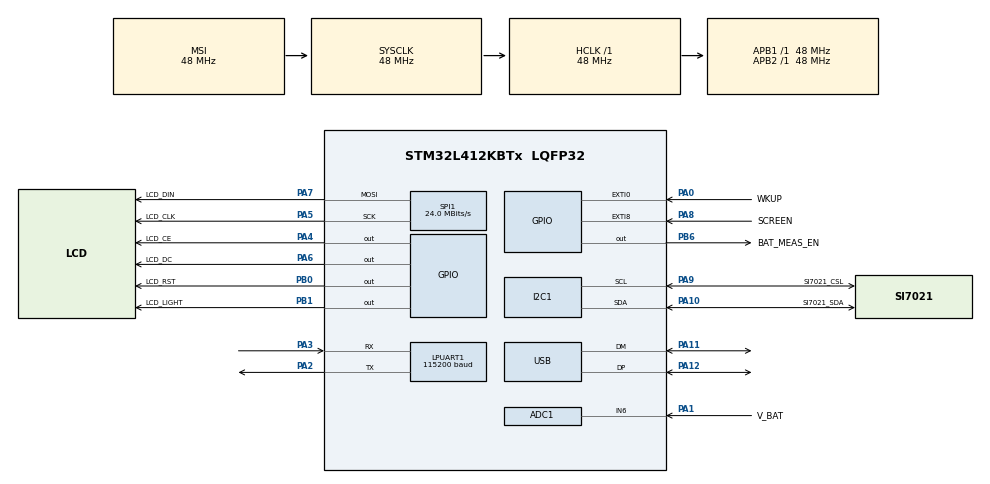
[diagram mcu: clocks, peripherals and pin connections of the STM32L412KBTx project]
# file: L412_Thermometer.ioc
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ADC1.Channel-4\#ChannelRegularConversion=ADC_CHANNEL_6
ADC1.NbrOfConversionFlag=1
ADC1.OffsetNumber-4\#ChannelRegularConversion=ADC_OFFSET_NONE
ADC1.Rank-4\#ChannelRegularConversion=1
ADC1.SamplingTime-4\#ChannelRegularConversion=ADC_SAMPLETIME_2CYCLES_5
ADC1.master=1
I2C1.Timing=0x20303E5D
LPUART1.BaudRate=115200
LPUART1.WordLength=UART_WORDLENGTH_8B
Mcu.Family=STM32L4
Mcu.Name=STM32L412KBTx
Mcu.Package=LQFP32
NVIC.EXTI0_IRQn=true\:0\:0\:false\:false\:true\:true\:true\:true
NVIC.PriorityGroup=NVIC_PRIORITYGROUP_4
NVIC.RTC_WKUP_IRQn=true\:0\:0\:false\:false\:true\:true\:true\:true
NVIC.TIM1_UP_TIM16_IRQn=true\:0\:0\:false\:false\:true\:true\:true\:true
NVIC.USB_IRQn=true\:0\:0\:false\:false\:true\:false\:true\:true
PA0-CK_IN.GPIO_Label=WKUP
PA0-CK_IN.GPIO_ModeDefaultEXTI=GPIO_MODE_IT_FALLING
PA0-CK_IN.GPIO_PuPd=GPIO_PULLUP
PA0-CK_IN.Signal=GPXTI0
PA1.GPIO_Label=V_BAT
PA1.Signal=ADCx_IN6
PA10.GPIO_Label=SI7021_SDA
PA10.GPIO_Pu=GPIO_PULLUP
PA10.Mode=I2C
PA10.Signal=I2C1_SDA
PA11.Mode=Device
PA11.Signal=USB_DM
PA12.Mode=Device
PA12.Signal=USB_DP
PA13\ (JTMS/SWDIO).Mode=Serial_Wire
PA13\ (JTMS/SWDIO).Signal=SYS_JTMS-SWDIO
PA14\ (JTCK/SWCLK).Mode=Serial_Wire
PA14\ (JTCK/SWCLK).Signal=SYS_JTCK-SWCLK
PA2.Mode=Asynchronous
PA2.Signal=LPUART1_TX
PA3.Mode=Asynchronous
PA3.Signal=LPUART1_RX
PA4.GPIO_Label=LCD_CE
PA4.Signal=GPIO_Output
PA5.GPIO_Label=LCD_CLK
PA5.Mode=TX_Only_Simplex_Unidirect_Master
PA5.Signal=SPI1_SCK
PA6.GPIO_Label=LCD_DC
PA6.Signal=GPIO_Output
PA7.GPIO_Label=LCD_DIN
PA7.Mode=TX_Only_Simplex_Unidirect_Master
PA7.Signal=SPI1_MOSI
PA8.GPIO_Label=SCREEN
PA8.GPIO_ModeDefaultEXTI=GPIO_MODE_IT_FALLING
PA8.GPIO_PuPd=GPIO_PULLUP
PA8.Signal=GPXTI8
PA9.GPIO_Label=SI7021_CSL
PA9.GPIO_Pu=GPIO_PULLUP
PA9.Mode=I2C
PA9.Signal=I2C1_SCL
PB0.GPIO_Label=LCD_RST
PB0.Signal=GPIO_Output
PB1.GPIO_Label=LCD_LIGHT
PB1.GPIO_ModeDefaultOutputPP=GPIO_MODE_OUTPUT_OD
PB1.GPIO_PuPd=GPIO_PULLUP
PB1.PinState=GPIO_PIN_SET
PB1.Signal=GPIO_Output
PB6.GPIO_Label=BAT_MEAS_EN
PB6.Signal=GPIO_Output
ProjectManager.HeapSize=0x200
ProjectManager.StackSize=0x400
ProjectManager.TargetToolchain=Makefile
RCC.ADCFreq_Value=48000000
RCC.AHBFreq_Value=48000000
RCC.APB1Freq_Value=48000000
RCC.APB1TimFreq_Value=48000000
RCC.APB2Freq_Value=48000000
RCC.APB2TimFreq_Value=48000000
RCC.CortexFreq_Value=48000000
RCC.HCLKFreq_Value=48000000
RCC.HSE_VALUE=8000000
RCC.HSI48_VALUE=48000000
RCC.HSI_VALUE=16000000
RCC.LSE_VALUE=32768
RCC.MSIAutoCalibration=DISABLED
RCC.MSIClockRange=RCC_MSIRANGE_11
RCC.MSI_VALUE=48000000
RCC.PLLR=RCC_PLLR_DIV8
RCC.SYSCLKFreq_VALUE=48000000
RCC.USBFreq_Value=48000000
RCC.VCOOutputFreq_Value=384000000
RCC.VDD_VALUE=3
RTC.WakeUpClock=RTC_WAKEUPCLOCK_CK_SPRE_16BITS
SH.ADCx_IN6.0=ADC1_IN6,IN6-Single-Ended
SPI1.CalculateBaudRate=24.0 MBits/s
SPI1.DataSize=SPI_DATASIZE_8BIT
SPI1.Direction=SPI_DIRECTION_2LINES
SPI1.Mode=SPI_MODE_MASTER
SPI1.VirtualType=VM_MASTER
USB_DEVICE.CLASS_NAME_FS=CDC
USB_DEVICE.VirtualMode=Cdc
USB_DEVICE.VirtualModeFS=Cdc_FS
VP_RTC_VS_RTC_Activate.Mode=RTC_Enabled
VP_RTC_VS_RTC_WakeUp_intern.Mode=WakeUp
VP_TIM16_VS_ClockSourceINT.Mode=Enable_Timer
VP_USB_DEVICE_VS_USB_DEVICE_CDC_FS.Mode=CDC_FS
board=custom

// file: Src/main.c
/* USER CODE BEGIN Header */
/**
  ******************************************************************************
  * @file           : main.c
  * @brief          : Main program body
  ******************************************************************************
  * @attention
  *
  * <h2><center>&copy; Copyright (c) 2022 STMicroelectronics.
  * All rights reserved.</center></h2>
  *
  * This software component is licensed by ST under BSD 3-Clause license,
  * the "License"; You may not use this file except in compliance with the
  * License. You may obtain a copy of the License at:
  *                        opensource.org/licenses/BSD-3-Clause
  *
  ******************************************************************************
  */
/* USER CODE END Header */
#include "main.h"
#include "usb_device.h"

/* USER CODE BEGIN Includes */
#include <stdio.h>
#include <string.h>

#include "tm_stm32f4_pcd8544.h"
#include "Si7021_driver.h"
#include "usbd_cdc_if.h"
/* USER CODE END Includes */

ADC_HandleTypeDef hadc1;

I2C_HandleTypeDef hi2c1;

UART_HandleTypeDef hlpuart1;

RTC_HandleTypeDef hrtc;

SPI_HandleTypeDef hspi1;

TIM_HandleTypeDef htim16;

/* USER CODE BEGIN PV */
TIM_HandleTypeDef Input_Handle;

uint16_t tmpCCTIM_CHANNEL_1[2] = {0, 0};
__IO uint32_t uwLsiFreq = 0;

__IO uint32_t uwCaptureNumber = 0;
__IO uint32_t uwPeriodValue = 0;
/* USER CODE END PV */

void SystemClock_Config(void);
static void MX_GPIO_Init(void);
static void MX_I2C1_Init(void);
static void MX_LPUART1_UART_Init(void);
static void MX_SPI1_Init(void);
static void MX_RTC_Init(void);
static void MX_TIM16_Init(void);
static void MX_ADC1_Init(void);
/* USER CODE BEGIN PFP */
static uint32_t GetLSIFrequency(void);
void HAL_TIM_IC_CaptureCallback(TIM_HandleTypeDef *htim);
void HAL_RTCEx_WakeUpTimerEventCallback(RTC_HandleTypeDef *hrtc);
void HAL_GPIO_EXTI_Callback(uint16_t GPIO_Pin);
/* USER CODE END PFP */

int main(void)
{

  /* MCU Configuration--------------------------------------------------------*/

  /* Reset of all peripherals, Initializes the Flash interface and the Systick. */
  HAL_Init();

  /* Configure the system clock */
  SystemClock_Config();

  /* Initialize all configured peripherals */
  MX_GPIO_Init();
  MX_I2C1_Init();
  MX_LPUART1_UART_Init();
  MX_SPI1_Init();
  MX_RTC_Init();
  MX_USB_DEVICE_Init();
  MX_ADC1_Init();
  /* USER CODE BEGIN 2 */
  HAL_UART_Transmit(&hlpuart1, (uint8_t*)"\n\nSTM32L412 Thermometer\r\n", 25, 1000);

  for(int i = 0; i < 5; ++i) {
    CDC_Transmit_FS((uint8_t*)"USB\r\n", 5);
    HAL_Delay(500);
  }

  MX_TIM16_Init();
  HAL_RTCEx_SetWakeUpTimer_IT(&hrtc, 59, RTC_WAKEUPCLOCK_CK_SPRE_16BITS, 0x0);

  HAL_UART_Transmit(&hlpuart1, (uint8_t*)"USB deinit..\r\n", 14, 1000);
  MX_USB_DEVICE_DeInit();
  HAL_UART_Transmit(&hlpuart1, (uint8_t*)"MSI to 4MHz..\r\n", 15, 1000);

  RCC_OscInitTypeDef MSI_InitStruct = {0};
  /** Initializes the RCC Oscillators according to the specified parameters
  * in the RCC_OscInitTypeDef structure.
  */
  MSI_InitStruct.OscillatorType = RCC_OSCILLATORTYPE_MSI;
  MSI_InitStruct.MSIState = RCC_MSI_ON;
  MSI_InitStruct.MSICalibrationValue = 0;
  MSI_InitStruct.MSIClockRange = RCC_MSIRANGE_6;
  if (HAL_RCC_OscConfig(&MSI_InitStruct) != HAL_OK)
  {
    Error_Handler();
  }

  RCC_ClkInitTypeDef RCC_ClkInitStruct = {0};
  /** Initializes the CPU, AHB and APB buses clocks
  */
  RCC_ClkInitStruct.ClockType = RCC_CLOCKTYPE_HCLK|RCC_CLOCKTYPE_SYSCLK
                              |RCC_CLOCKTYPE_PCLK1|RCC_CLOCKTYPE_PCLK2;
  RCC_ClkInitStruct.SYSCLKSource = RCC_SYSCLKSOURCE_MSI;
  RCC_ClkInitStruct.AHBCLKDivider = RCC_SYSCLK_DIV1;
  RCC_ClkInitStruct.APB1CLKDivider = RCC_HCLK_DIV1;
  RCC_ClkInitStruct.APB2CLKDivider = RCC_HCLK_DIV1;

  if (HAL_RCC_ClockConfig(&RCC_ClkInitStruct, FLASH_LATENCY_0) != HAL_OK)
  {
    Error_Handler();
  }

  HAL_Delay(100);
  // restart UART
  MX_LPUART1_UART_Init();
  HAL_UART_Transmit(&hlpuart1, (uint8_t*)"Done!\r\n", 7, 1000);

  /* Get the LSI frequency:  TIM16 is used to measure the LSI frequency */
  uwLsiFreq = GetLSIFrequency();
  /* Update the Calendar Configuration with the LSI exact value */
  hrtc.Instance = RTC;
  hrtc.Init.HourFormat = RTC_HOURFORMAT_24;
  hrtc.Init.AsynchPrediv = 127;
  hrtc.Init.SynchPrediv = (uwLsiFreq/128) - 1;
  hrtc.Init.OutPut = RTC_OUTPUT_DISABLE;
  hrtc.Init.OutPutRemap = RTC_OUTPUT_REMAP_NONE;
  hrtc.Init.OutPutPolarity = RTC_OUTPUT_POLARITY_HIGH;
  hrtc.Init.OutPutType = RTC_OUTPUT_TYPE_OPENDRAIN;
  hrtc.Init.OutPutPullUp = RTC_OUTPUT_PULLUP_NONE;
  if (HAL_RTC_Init(&hrtc) != HAL_OK)
  {
    Error_Handler();
  }

  HAL_TIM_IC_DeInit(&htim16);
  HAL_TIM_Base_DeInit(&htim16);

  PCD8544_Init(&hspi1, 0x38);
  //Go to x=14, y=3 position
  PCD8544_GotoXY(14, 3);
  //Print data with Pixel Set mode and Fontsize of 5x7px
  PCD8544_Puts("STM32L412", PCD8544_Pixel_Set, PCD8544_FontSize_5x7);
  //Display data on LCD
  PCD8544_Refresh();
  HAL_Delay(100);

  uint8_t revision = r_firmware_rev_Si7021();
  Si7021_resolution_t resolution = r_resolution_Si7021();
  float temp = 0, hum = 0;
  r_both_Si7021(&hum, &temp);

  uint8_t msg[64], temp_str[16], hum_str[16], iter_str[6];
  memset(msg, 0, sizeof(msg));
  sprintf((char*)msg, "Rev: %d, Res: %d; Temp: %d.%02d, Humid: %d.%02d\r\n", revision,\
    resolution, (int)temp, (int)((temp-(int)temp)*100), (int)hum, (int)((hum-(int)hum)*100));
  HAL_UART_Transmit(&hlpuart1, msg, sizeof(msg), HAL_MAX_DELAY);

  PCD8544_Clear();

  /* USER CODE END 2 */

  /* Infinite loop */
  /* USER CODE BEGIN WHILE */
  while (1)
  {
    r_both_Si7021(&hum, &temp);
    sprintf((char*)temp_str, "Temp: %d.%02d C", (int)temp, (int)((temp-(int)temp)*100));
    sprintf((char*)hum_str, "Humid: %d.%02d%%", (int)hum, (int)((hum-(int)hum)*100));
    // sprintf((char*)iter_str, "%d", iter);
    PCD8544_ClearRAM();
    PCD8544_GotoXY(3, 10);
    PCD8544_Puts((char*)temp_str, PCD8544_Pixel_Set, PCD8544_FontSize_5x7);
    PCD8544_GotoXY(3, 20);
    PCD8544_Puts((char*)hum_str, PCD8544_Pixel_Set, PCD8544_FontSize_5x7);
    // LCD_PCD8544_write_str(&gLcdScreen, 5, 9, (char*)iter_str);
    PCD8544_UpdateArea(0, 10, PCD8544_WIDTH - 1, 28);
    PCD8544_Refresh();

    if(HAL_GPIO_ReadPin(WKUP_GPIO_Port, WKUP_Pin) != GPIO_PIN_RESET) {
      HAL_UART_Transmit(&hlpuart1, (uint8_t*)"Sleep\r\n", 7, HAL_MAX_DELAY);
      HAL_SuspendTick();
      HAL_PWR_EnterSLEEPMode(PWR_MAINREGULATOR_ON, PWR_SLEEPENTRY_WFI);
    }
    else {
      HAL_UART_Transmit(&hlpuart1, (uint8_t*)"DEBUG\r\n", 7, HAL_MAX_DELAY);
      HAL_Delay(1000);
    }

    /* USER CODE END WHILE */

  }
}

void SystemClock_Config(void)
{
  RCC_OscInitTypeDef RCC_OscInitStruct = {0};
  RCC_ClkInitTypeDef RCC_ClkInitStruct = {0};

  /** Configure the main internal regulator output voltage
  */
  if (HAL_PWREx_ControlVoltageScaling(PWR_REGULATOR_VOLTAGE_SCALE1) != HAL_OK)
  {
    Error_Handler();
  }

  /** Initializes the RCC Oscillators according to the specified parameters
  * in the RCC_OscInitTypeDef structure.
  */
  RCC_OscInitStruct.OscillatorType = RCC_OSCILLATORTYPE_LSI|RCC_OSCILLATORTYPE_MSI;
  RCC_OscInitStruct.LSIState = RCC_LSI_ON;
  RCC_OscInitStruct.MSIState = RCC_MSI_ON;
  RCC_OscInitStruct.MSICalibrationValue = 0;
  RCC_OscInitStruct.MSIClockRange = RCC_MSIRANGE_11;
  RCC_OscInitStruct.PLL.PLLState = RCC_PLL_NONE;
  if (HAL_RCC_OscConfig(&RCC_OscInitStruct) != HAL_OK)
  {
    Error_Handler();
  }

  /** Initializes the CPU, AHB and APB buses clocks
  */
  RCC_ClkInitStruct.ClockType = RCC_CLOCKTYPE_HCLK|RCC_CLOCKTYPE_SYSCLK
                              |RCC_CLOCKTYPE_PCLK1|RCC_CLOCKTYPE_PCLK2;
  RCC_ClkInitStruct.SYSCLKSource = RCC_SYSCLKSOURCE_MSI;
  RCC_ClkInitStruct.AHBCLKDivider = RCC_SYSCLK_DIV1;
  RCC_ClkInitStruct.APB1CLKDivider = RCC_HCLK_DIV1;
  RCC_ClkInitStruct.APB2CLKDivider = RCC_HCLK_DIV1;

  if (HAL_RCC_ClockConfig(&RCC_ClkInitStruct, FLASH_LATENCY_2) != HAL_OK)
  {
    Error_Handler();
  }
}

static void MX_ADC1_Init(void)
{

  ADC_MultiModeTypeDef multimode = {0};
  ADC_ChannelConfTypeDef sConfig = {0};

  /** Common config
  */
  hadc1.Instance = ADC1;
  hadc1.Init.ClockPrescaler = ADC_CLOCK_ASYNC_DIV1;
  hadc1.Init.Resolution = ADC_RESOLUTION_12B;
  hadc1.Init.DataAlign = ADC_DATAALIGN_RIGHT;
  hadc1.Init.ScanConvMode = ADC_SCAN_DISABLE;
  hadc1.Init.EOCSelection = ADC_EOC_SINGLE_CONV;
  hadc1.Init.LowPowerAutoWait = DISABLE;
  hadc1.Init.ContinuousConvMode = DISABLE;
  hadc1.Init.NbrOfConversion = 1;
  hadc1.Init.DiscontinuousConvMode = DISABLE;
  hadc1.Init.ExternalTrigConv = ADC_SOFTWARE_START;
  hadc1.Init.ExternalTrigConvEdge = ADC_EXTERNALTRIGCONVEDGE_NONE;
  hadc1.Init.DMAContinuousRequests = DISABLE;
  hadc1.Init.Overrun = ADC_OVR_DATA_PRESERVED;
  hadc1.Init.OversamplingMode = DISABLE;
  if (HAL_ADC_Init(&hadc1) != HAL_OK)
  {
    Error_Handler();
  }

  /** Configure the ADC multi-mode
  */
  multimode.Mode = ADC_MODE_INDEPENDENT;
  if (HAL_ADCEx_MultiModeConfigChannel(&hadc1, &multimode) != HAL_OK)
  {
    Error_Handler();
  }

  /** Configure Regular Channel
  */
  sConfig.Channel = ADC_CHANNEL_6;
  sConfig.Rank = ADC_REGULAR_RANK_1;
  sConfig.SamplingTime = ADC_SAMPLETIME_2CYCLES_5;
  sConfig.SingleDiff = ADC_SINGLE_ENDED;
  sConfig.OffsetNumber = ADC_OFFSET_NONE;
  sConfig.Offset = 0;
  if (HAL_ADC_ConfigChannel(&hadc1, &sConfig) != HAL_OK)
  {
    Error_Handler();
  }

}

static void MX_I2C1_Init(void)
{

  hi2c1.Instance = I2C1;
  hi2c1.Init.Timing = 0x20303E5D;
  hi2c1.Init.OwnAddress1 = 0;
  hi2c1.Init.AddressingMode = I2C_ADDRESSINGMODE_7BIT;
  hi2c1.Init.DualAddressMode = I2C_DUALADDRESS_DISABLE;
  hi2c1.Init.OwnAddress2 = 0;
  hi2c1.Init.OwnAddress2Masks = I2C_OA2_NOMASK;
  hi2c1.Init.GeneralCallMode = I2C_GENERALCALL_DISABLE;
  hi2c1.Init.NoStretchMode = I2C_NOSTRETCH_DISABLE;
  if (HAL_I2C_Init(&hi2c1) != HAL_OK)
  {
    Error_Handler();
  }

  /** Configure Analogue filter
  */
  if (HAL_I2CEx_ConfigAnalogFilter(&hi2c1, I2C_ANALOGFILTER_ENABLE) != HAL_OK)
  {
    Error_Handler();
  }

  /** Configure Digital filter
  */
  if (HAL_I2CEx_ConfigDigitalFilter(&hi2c1, 0) != HAL_OK)
  {
    Error_Handler();
  }

}

static void MX_LPUART1_UART_Init(void)
{

  hlpuart1.Instance = LPUART1;
  hlpuart1.Init.BaudRate = 115200;
  hlpuart1.Init.WordLength = UART_WORDLENGTH_8B;
  hlpuart1.Init.StopBits = UART_STOPBITS_1;
  hlpuart1.Init.Parity = UART_PARITY_NONE;
  hlpuart1.Init.Mode = UART_MODE_TX_RX;
  hlpuart1.Init.HwFlowCtl = UART_HWCONTROL_NONE;
  hlpuart1.Init.OneBitSampling = UART_ONE_BIT_SAMPLE_DISABLE;
  hlpuart1.AdvancedInit.AdvFeatureInit = UART_ADVFEATURE_NO_INIT;
  if (HAL_UART_Init(&hlpuart1) != HAL_OK)
  {
    Error_Handler();
  }

}

static void MX_RTC_Init(void)
{

  /** Initialize RTC Only
  */
  hrtc.Instance = RTC;
  hrtc.Init.HourFormat = RTC_HOURFORMAT_24;
  hrtc.Init.AsynchPrediv = 127;
  hrtc.Init.SynchPrediv = 255;
  hrtc.Init.OutPut = RTC_OUTPUT_DISABLE;
  hrtc.Init.OutPutRemap = RTC_OUTPUT_REMAP_NONE;
  hrtc.Init.OutPutPolarity = RTC_OUTPUT_POLARITY_HIGH;
  hrtc.Init.OutPutType = RTC_OUTPUT_TYPE_OPENDRAIN;
  hrtc.Init.OutPutPullUp = RTC_OUTPUT_PULLUP_NONE;
  if (HAL_RTC_Init(&hrtc) != HAL_OK)
  {
    Error_Handler();
  }

  /** Enable the WakeUp
  */
  if (HAL_RTCEx_SetWakeUpTimer_IT(&hrtc, 0, RTC_WAKEUPCLOCK_CK_SPRE_16BITS, 0) != HAL_OK)
  {
    Error_Handler();
  }

}

static void MX_SPI1_Init(void)
{

  /* SPI1 parameter configuration*/
  hspi1.Instance = SPI1;
  hspi1.Init.Mode = SPI_MODE_MASTER;
  hspi1.Init.Direction = SPI_DIRECTION_2LINES;
  hspi1.Init.DataSize = SPI_DATASIZE_8BIT;
  hspi1.Init.CLKPolarity = SPI_POLARITY_LOW;
  hspi1.Init.CLKPhase = SPI_PHASE_1EDGE;
  hspi1.Init.NSS = SPI_NSS_SOFT;
  hspi1.Init.BaudRatePrescaler = SPI_BAUDRATEPRESCALER_2;
  hspi1.Init.FirstBit = SPI_FIRSTBIT_MSB;
  hspi1.Init.TIMode = SPI_TIMODE_DISABLE;
  hspi1.Init.CRCCalculation = SPI_CRCCALCULATION_DISABLE;
  hspi1.Init.CRCPolynomial = 7;
  hspi1.Init.CRCLength = SPI_CRC_LENGTH_DATASIZE;
  hspi1.Init.NSSPMode = SPI_NSS_PULSE_ENABLE;
  if (HAL_SPI_Init(&hspi1) != HAL_OK)
  {
    Error_Handler();
  }

}

static void MX_TIM16_Init(void)
{

  htim16.Instance = TIM16;
  htim16.Init.Prescaler = 0;
  htim16.Init.CounterMode = TIM_COUNTERMODE_UP;
  htim16.Init.Period = 65535;
  htim16.Init.ClockDivision = TIM_CLOCKDIVISION_DIV1;
  htim16.Init.RepetitionCounter = 0;
  htim16.Init.AutoReloadPreload = TIM_AUTORELOAD_PRELOAD_DISABLE;
  if (HAL_TIM_Base_Init(&htim16) != HAL_OK)
  {
    Error_Handler();
  }

}

static void MX_GPIO_Init(void)
{
  GPIO_InitTypeDef GPIO_InitStruct = {0};

  /* GPIO Ports Clock Enable */
  __HAL_RCC_GPIOA_CLK_ENABLE();
  __HAL_RCC_GPIOB_CLK_ENABLE();

  /*Configure GPIO pin Output Level */
  HAL_GPIO_WritePin(GPIOA, LCD_CE_Pin|LCD_DC_Pin, GPIO_PIN_RESET);

  /*Configure GPIO pin Output Level */
  HAL_GPIO_WritePin(GPIOB, LCD_RST_Pin|BAT_MEAS_EN_Pin, GPIO_PIN_RESET);

  /*Configure GPIO pin Output Level */
  HAL_GPIO_WritePin(LCD_LIGHT_GPIO_Port, LCD_LIGHT_Pin, GPIO_PIN_SET);

  /*Configure GPIO pins : WKUP_Pin SCREEN_Pin */
  GPIO_InitStruct.Pin = WKUP_Pin|SCREEN_Pin;
  GPIO_InitStruct.Mode = GPIO_MODE_IT_FALLING;
  GPIO_InitStruct.Pull = GPIO_PULLUP;
  HAL_GPIO_Init(GPIOA, &GPIO_InitStruct);

  /*Configure GPIO pins : LCD_CE_Pin LCD_DC_Pin */
  GPIO_InitStruct.Pin = LCD_CE_Pin|LCD_DC_Pin;
  GPIO_InitStruct.Mode = GPIO_MODE_OUTPUT_PP;
  GPIO_InitStruct.Pull = GPIO_NOPULL;
  GPIO_InitStruct.Speed = GPIO_SPEED_FREQ_LOW;
  HAL_GPIO_Init(GPIOA, &GPIO_InitStruct);

  /*Configure GPIO pins : LCD_RST_Pin BAT_MEAS_EN_Pin */
  GPIO_InitStruct.Pin = LCD_RST_Pin|BAT_MEAS_EN_Pin;
  GPIO_InitStruct.Mode = GPIO_MODE_OUTPUT_PP;
  GPIO_InitStruct.Pull = GPIO_NOPULL;
  GPIO_InitStruct.Speed = GPIO_SPEED_FREQ_LOW;
  HAL_GPIO_Init(GPIOB, &GPIO_InitStruct);

  /*Configure GPIO pin : LCD_LIGHT_Pin */
  GPIO_InitStruct.Pin = LCD_LIGHT_Pin;
  GPIO_InitStruct.Mode = GPIO_MODE_OUTPUT_OD;
  GPIO_InitStruct.Pull = GPIO_PULLUP;
  GPIO_InitStruct.Speed = GPIO_SPEED_FREQ_LOW;
  HAL_GPIO_Init(LCD_LIGHT_GPIO_Port, &GPIO_InitStruct);

  /* EXTI interrupt init*/
  HAL_NVIC_SetPriority(EXTI0_IRQn, 0, 0);
  HAL_NVIC_EnableIRQ(EXTI0_IRQn);

}

/* USER CODE BEGIN 4 */
void HAL_GPIO_EXTI_Callback(uint16_t GPIO_Pin) {
  HAL_ResumeTick();
}

void HAL_RTCEx_WakeUpTimerEventCallback(RTC_HandleTypeDef *hrtc)
{
  HAL_ResumeTick();
  HAL_UART_Transmit(&hlpuart1, (uint8_t*)"WKUP\r\n", 6, 500);
}
/**
  * @brief  Input Capture callback in non blocking mode
  * @param  htim : TIM IC handle
  * @retval None
*/
void HAL_TIM_IC_CaptureCallback(TIM_HandleTypeDef *htim)
{
  /* Get the Input Capture value */
  tmpCCTIM_CHANNEL_1[uwCaptureNumber++] = HAL_TIM_ReadCapturedValue(&Input_Handle, TIM_CHANNEL_1);

  if (uwCaptureNumber >= 2)
  {
    if ( tmpCCTIM_CHANNEL_1[0] > tmpCCTIM_CHANNEL_1[1] )
    {
      /* Compute the period length */
      uwPeriodValue = (uint16_t)(0xFFFF - tmpCCTIM_CHANNEL_1[0] + tmpCCTIM_CHANNEL_1[1] + 1);
    }
    else
    {
      /* Compute the period length */
      uwPeriodValue = (uint16_t)(tmpCCTIM_CHANNEL_1[1] - tmpCCTIM_CHANNEL_1[0]);
    }
    /* Frequency computation */
    uwLsiFreq = (uint32_t) SystemCoreClock / uwPeriodValue;
    uwLsiFreq *= 8;
  }
}

/**
  * @brief  Configures TIM16 to measure the LSI oscillator frequency.
  * @param  None
  * @retval LSI Frequency
  */
static uint32_t GetLSIFrequency(void)
{
  TIM_IC_InitTypeDef    TIMInput_Config;

  /* Configure the TIM peripheral *********************************************/
  /* Set TIMx instance */
  Input_Handle.Instance = TIM16;

  /* TIM16 configuration: Input Capture mode ---------------------
     The LSI oscillator is connected to TIM16 TIM_CHANNEL_1.
     The Rising edge is used as active edge.
     The TIM16 Capture/Compare register associated to TIM_CHANNEL_1
     is used to compute the frequency value.
  ------------------------------------------------------------ */
  Input_Handle.Init.Prescaler         = 0;
  Input_Handle.Init.CounterMode       = TIM_COUNTERMODE_UP;
  Input_Handle.Init.Period            = 0xFFFF;
  Input_Handle.Init.ClockDivision     = 0;
  if(HAL_TIM_IC_Init(&Input_Handle) != HAL_OK)
  {
    /* Initialization Error */
    Error_Handler();
  }

  /* Connect internally the TIM16 Input Capture of TIM_CHANNEL_1 to the LSI clock output */
  HAL_TIMEx_RemapConfig(&Input_Handle, TIM_TIM16_TI1_LSI);

  /* Configure the Input Capture of TIM_CHANNEL_1 */
  TIMInput_Config.ICPolarity  = TIM_ICPOLARITY_RISING;
  TIMInput_Config.ICSelection = TIM_ICSELECTION_DIRECTTI;
  TIMInput_Config.ICPrescaler = TIM_ICPSC_DIV8;
  TIMInput_Config.ICFilter    = 0;
  if(HAL_TIM_IC_ConfigChannel(&Input_Handle, &TIMInput_Config, TIM_CHANNEL_1) != HAL_OK)
  {
    /* Initialization Error */
    Error_Handler();
  }

  /* Start the TIM Input Capture measurement in interrupt mode */
  if(HAL_TIM_IC_Start_IT(&Input_Handle, TIM_CHANNEL_1) != HAL_OK)
  {
    Error_Handler();
  }

  /* Wait until the TIM16 gets 2 LSI edges */
  while(uwCaptureNumber != 2)
  {
  }

  /* Disable TIM16 Capture/Compare channel Interrupt Request */
  HAL_TIM_IC_Stop_IT(&Input_Handle, TIM_CHANNEL_1);

  /* Deinitialize the TIM16 peripheral registers to their default reset values */
  HAL_TIM_IC_DeInit(&Input_Handle);

  return uwLsiFreq;
}
/* USER CODE END 4 */

void Error_Handler(void)
{
}
